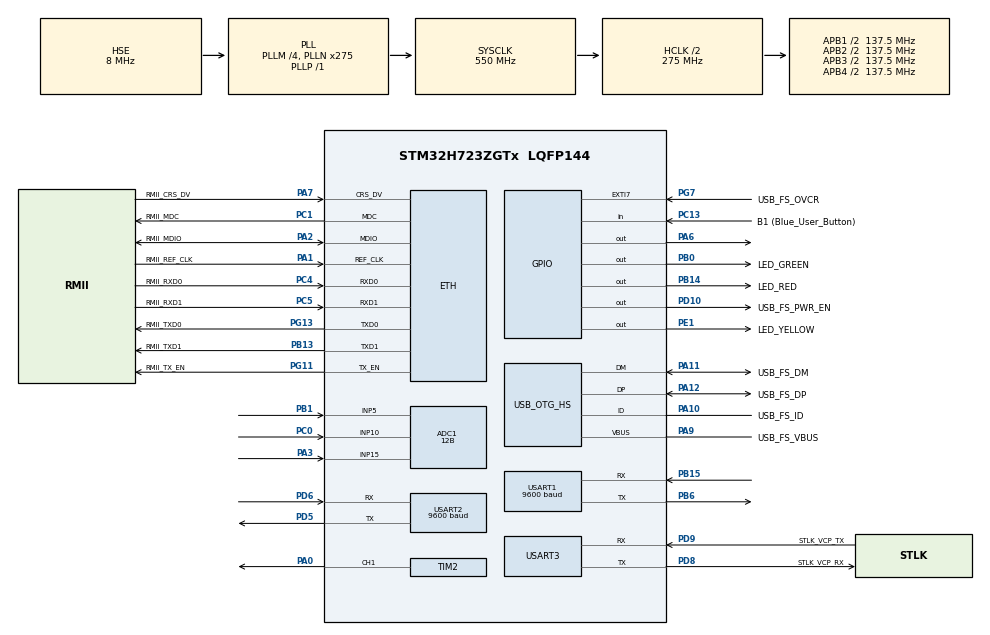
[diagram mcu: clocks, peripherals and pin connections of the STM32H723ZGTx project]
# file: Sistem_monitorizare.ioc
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ADC1.Channel-0\#ChannelRegularConversion=ADC_CHANNEL_10
ADC1.Channel-2\#ChannelRegularConversion=ADC_CHANNEL_15
ADC1.Channel-3\#ChannelRegularConversion=ADC_CHANNEL_5
ADC1.NbrOfConversion=3
ADC1.NbrOfConversionFlag=1
ADC1.OffsetNumber-0\#ChannelRegularConversion=ADC_OFFSET_NONE
ADC1.OffsetNumber-2\#ChannelRegularConversion=ADC_OFFSET_NONE
ADC1.OffsetNumber-3\#ChannelRegularConversion=ADC_OFFSET_NONE
ADC1.OffsetSignedSaturation-0\#ChannelRegularConversion=DISABLE
ADC1.OffsetSignedSaturation-2\#ChannelRegularConversion=DISABLE
ADC1.Rank-0\#ChannelRegularConversion=1
ADC1.Rank-2\#ChannelRegularConversion=2
ADC1.Rank-3\#ChannelRegularConversion=3
ADC1.Resolution=ADC_RESOLUTION_12B
ADC1.SamplingTime-0\#ChannelRegularConversion=ADC_SAMPLETIME_64CYCLES_5
ADC1.SamplingTime-2\#ChannelRegularConversion=ADC_SAMPLETIME_64CYCLES_5
ADC1.SamplingTime-3\#ChannelRegularConversion=ADC_SAMPLETIME_64CYCLES_5
ADC1.master=1
ETH.MediaInterface=HAL_ETH_RMII_MODE
FREERTOS.BinarySemaphores01=alertSemaphore,Static,alertSemaphoreControlBlock,Available
FREERTOS.INCLUDE_vTaskDelay=1
FREERTOS.Tasks01=defaultTask,24,128,StartDefaultTask,Default,NULL,Dynamic,NULL,NULL;SensorTask,40,512,mainTask,Default,NULL,Dynamic,NULL,NULL;CommTask,8,128,secondTask,Default,NULL,Dynamic,NULL,NULL
FREERTOS.Timers01=SensorTimer,Callback01,osTimerPeriodic,Default,NULL,Dynamic,NULL
FREERTOS.configUSE_NEWLIB_REENTRANT=1
LWIP.BSP.number=1
LWIP.CMSIS_VERSION-Enabled=1
LWIP.Version=v2.1.2_Cube
LWIP0.BSP.STBoard=false
LWIP0.BSP.api=BSP_COMPONENT_DRIVER
LWIP0.BSP.component=LAN8742
LWIP0.BSP.instance=LAN8742
LWIP0.BSP.name=Driver_PHY
LWIP0.BSP.semaphore=S_LAN8742
LWIP0.BSP.solution=LAN8742
Mcu.Family=STM32H7
Mcu.Name=STM32H723ZGTx
Mcu.Package=LQFP144
NVIC.PriorityGroup=NVIC_PRIORITYGROUP_4
NVIC.TIM6_DAC_IRQn=true\:15\:0\:false\:false\:true\:false\:false\:true\:true
NVIC.TimeBase=TIM6_DAC_IRQn
NVIC.TimeBaseIP=TIM6
PA0.Signal=S_TIM2_CH1_ETR
PA1.GPIO_Label=RMII_REF_CLK
PA1.Mode=RMII
PA1.Signal=ETH_REF_CLK
PA10.GPIO_Label=USB_FS_ID
PA10.Mode=OTG/Dual-Role-Device-FS
PA10.Signal=USB_OTG_HS_ID
PA11.GPIO_Label=USB_FS_DM
PA11.Mode=OTG/Dual-Role-Device-FS
PA11.Signal=USB_OTG_HS_DM
PA12.GPIO_Label=USB_FS_DP
PA12.Mode=OTG/Dual-Role-Device-FS
PA12.Signal=USB_OTG_HS_DP
PA13(JTMS/SWDIO).GPIO_Label=SWDIO
PA13(JTMS/SWDIO).Mode=Trace_Asynchronous_SW
PA13(JTMS/SWDIO).Signal=DEBUG_JTMS-SWDIO
PA14(JTCK/SWCLK).GPIO_Label=SWCLK
PA14(JTCK/SWCLK).Mode=Trace_Asynchronous_SW
PA14(JTCK/SWCLK).Signal=DEBUG_JTCK-SWCLK
PA2.GPIO_Label=RMII_MDIO
PA2.Mode=RMII
PA2.Signal=ETH_MDIO
PA3.Signal=ADCx_INP15
PA6.Signal=GPIO_Output
PA7.GPIO_Label=RMII_CRS_DV
PA7.Mode=RMII
PA7.Signal=ETH_CRS_DV
PA9.GPIO_Label=USB_FS_VBUS
PA9.Mode=Activate_VBUS_FS
PA9.Signal=USB_OTG_HS_VBUS
PB0.GPIO_Label=LED_GREEN
PB0.Signal=GPIO_Output
PB1.Signal=ADCx_INP5
PB13.GPIO_Label=RMII_TXD1
PB13.Mode=RMII
PB13.Signal=ETH_TXD1
PB14.GPIO_Label=LED_RED
PB14.Signal=GPIO_Output
PB15.Mode=Asynchronous
PB15.Signal=USART1_RX
PB3(JTDO/TRACESWO).GPIO_Label=SWO
PB3(JTDO/TRACESWO).Mode=Trace_Asynchronous_SW
PB3(JTDO/TRACESWO).Signal=DEBUG_JTDO-SWO
PB6.Mode=Asynchronous
PB6.Signal=USART1_TX
PC0.Signal=ADCx_INP10
PC1.GPIO_Label=RMII_MDC
PC1.Mode=RMII
PC1.Signal=ETH_MDC
PC13.GPIO_Label=B1 (Blue_User_Button)
PC13.Signal=GPIO_Input
PC14-OSC32_IN.Mode=LSE-External-Oscillator
PC14-OSC32_IN.Signal=RCC_OSC32_IN
PC15-OSC32_OUT.Mode=LSE-External-Oscillator
PC15-OSC32_OUT.Signal=RCC_OSC32_OUT
PC4.GPIO_Label=RMII_RXD0
PC4.Mode=RMII
PC4.Signal=ETH_RXD0
PC5.GPIO_Label=RMII_RXD1
PC5.Mode=RMII
PC5.Signal=ETH_RXD1
PD10.GPIO_Label=USB_FS_PWR_EN
PD10.Signal=GPIO_Output
PD5.Mode=Asynchronous
PD5.Signal=USART2_TX
PD6.GPIO_ModeDefaultPP=GPIO_MODE_AF_PP
PD6.GPIO_PuPd=GPIO_PULLUP
PD6.Mode=Asynchronous
PD6.Signal=USART2_RX
PD8.GPIO_Label=STLK_VCP_RX
PD8.Mode=Asynchronous
PD8.Signal=USART3_TX
PD9.GPIO_Label=STLK_VCP_TX
PD9.Mode=Asynchronous
PD9.Signal=USART3_RX
PE1.GPIO_Label=LED_YELLOW
PE1.Signal=GPIO_Output
PG11.GPIO_Label=RMII_TX_EN
PG11.Mode=RMII
PG11.Signal=ETH_TX_EN
PG13.GPIO_Label=RMII_TXD0
PG13.Mode=RMII
PG13.Signal=ETH_TXD0
PG7.GPIO_Label=USB_FS_OVCR
PG7.Signal=GPXTI7
PH0-OSC_IN.GPIO_Label=MCO
PH0-OSC_IN.Mode=HSE-External-Clock-Source
PH0-OSC_IN.Signal=RCC_OSC_IN
PH1-OSC_OUT.Signal=RCC_OSC_OUT
ProjectManager.HeapSize=0x200
ProjectManager.StackSize=0x400
ProjectManager.TargetToolchain=STM32CubeIDE
RCC.ADCFreq_Value=96000000
RCC.APB1Freq_Value=137500000
RCC.APB2Freq_Value=137500000
RCC.APB3Freq_Value=137500000
RCC.APB4Freq_Value=137500000
RCC.CortexFreq_Value=550000000
RCC.D1PPRE=RCC_APB3_DIV2
RCC.D2PPRE1=RCC_APB1_DIV2
RCC.D2PPRE2=RCC_APB2_DIV2
RCC.D3PPRE=RCC_APB4_DIV2
RCC.DIVM1=4
RCC.DIVM2=1
RCC.DIVN1=275
RCC.DIVN2=24
RCC.DIVP1=1
RCC.DIVQ1=4
RCC.FLatency-AdvancedSettings=FLASH_LATENCY_3
RCC.HCLKFreq_Value=275000000
RCC.HPRE=RCC_HCLK_DIV2
RCC.HSE_VALUE=8000000
RCC.LPUART1CLockSelection=RCC_LPUART1CLKSOURCE_HSI
RCC.PLL1_VCO_SEL-AdvancedSettings=RCC_PLL1VCOMEDIUM
RCC.PLL2_VCO_SEL-AdvancedSettings=RCC_PLL2VCOWIDE
RCC.PLLFRACN=0
RCC.PLLSourceVirtual=RCC_PLLSOURCE_HSE
RCC.SYSCLKFreq_VALUE=550000000
RCC.SYSCLKSource=RCC_SYSCLKSOURCE_PLLCLK
RCC.USBCLockSelection=RCC_USBCLKSOURCE_HSI48
RCC.USBFreq_Value=48000000
SH.ADCx_INP10.0=ADC1_INP10,IN10-Single-Ended
SH.ADCx_INP15.0=ADC1_INP15,IN15-Single-Ended
SH.ADCx_INP5.0=ADC1_INP5,IN5-Single-Ended
SH.S_TIM2_CH1_ETR.0=TIM2_CH1,PWM Generation1 CH1
TIM2.Channel-PWM\ Generation1\ CH1=TIM_CHANNEL_1
TIM2.Period=999
TIM2.Prescaler=839
TIM2.Pulse-PWM\ Generation1\ CH1=320
USART1.BaudRate=9600
USART1.VirtualMode-Asynchronous=VM_ASYNC
USART2.BaudRate=9600
USART2.VirtualMode-Asynchronous=VM_ASYNC
USART3.VirtualMode-Asynchronous=VM_ASYNC
VP_FREERTOS_VS_CMSIS_V2.Mode=CMSIS_V2
VP_LWIP_VS_Enabled.Mode=Enabled
VP_MEMORYMAP_VS_MEMORYMAP.Mode=CurAppReg
VP_SYS_VS_tim6.Mode=TIM6
board=NUCLEO-H723ZG

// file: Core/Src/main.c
/* USER CODE BEGIN Header */
/**
 ******************************************************************************
 * @file           : main.c
 * @brief          : Main program body
 ******************************************************************************
 * @attention
 *
 * Copyright (c) 2025 STMicroelectronics.
 * All rights reserved.
 *
 * This software is licensed under terms that can be found in the LICENSE file
 * in the root directory of this software component.
 * If no LICENSE file comes with this software, it is provided AS-IS.
 *
 ******************************************************************************
 */
/* USER CODE END Header */
#include "main.h"
#include "cmsis_os.h"
#include "lwip.h"

/* USER CODE BEGIN Includes */
#include <stdio.h>
#include "lwip/sockets.h"
#include <string.h>
#include "cod.h"
/* USER CODE END Includes */

typedef StaticSemaphore_t osStaticSemaphoreDef_t;

ADC_HandleTypeDef hadc1;

TIM_HandleTypeDef htim2;

UART_HandleTypeDef huart1;
UART_HandleTypeDef huart2;
UART_HandleTypeDef huart3;

/* Definitions for defaultTask */
osThreadId_t defaultTaskHandle;
const osThreadAttr_t defaultTask_attributes = {
  .name = "defaultTask",
  .stack_size = 128 * 4,
  .priority = (osPriority_t) osPriorityNormal,
};
/* Definitions for SensorTask */
osThreadId_t SensorTaskHandle;
const osThreadAttr_t SensorTask_attributes = {
  .name = "SensorTask",
  .stack_size = 512 * 4,
  .priority = (osPriority_t) osPriorityHigh,
};
/* Definitions for CommTask */
osThreadId_t CommTaskHandle;
const osThreadAttr_t CommTask_attributes = {
  .name = "CommTask",
  .stack_size = 128 * 4,
  .priority = (osPriority_t) osPriorityLow,
};
/* Definitions for SensorTimer */
osTimerId_t SensorTimerHandle;
const osTimerAttr_t SensorTimer_attributes = {
  .name = "SensorTimer"
};
/* Definitions for alertSemaphore */
osSemaphoreId_t alertSemaphoreHandle;
osStaticSemaphoreDef_t alertSemaphoreControlBlock;
const osSemaphoreAttr_t alertSemaphore_attributes = {
  .name = "alertSemaphore",
  .cb_mem = &alertSemaphoreControlBlock,
  .cb_size = sizeof(alertSemaphoreControlBlock),
};
/* USER CODE BEGIN PV */

// Define the semaphore handle
osSemaphoreId_t alertSemaphoreHandle;

/* USER CODE END PV */

void SystemClock_Config(void);
static void MX_GPIO_Init(void);
static void MX_USB_OTG_HS_USB_Init(void);
static void MX_ADC1_Init(void);
static void MX_TIM2_Init(void);
static void MX_USART2_UART_Init(void);
static void MX_USART1_UART_Init(void);
static void MX_USART3_UART_Init(void);
void StartDefaultTask(void *argument);
void mainTask(void *argument);
void secondTask(void *argument);
void Callback01(void *argument);

/* USER CODE BEGIN PFP */
// Declara funcția de citire a temperaturii

/* USER CODE END PFP */

/* USER CODE BEGIN 0 */
// Redirecționare printf -> UART3

int _write(int file, char *ptr, int len)
{
	HAL_UART_Transmit(&huart3, (uint8_t*)ptr, len, HAL_MAX_DELAY);
	return len;
}

void InitCycleCounter(void) {
    CoreDebug->DEMCR |= CoreDebug_DEMCR_TRCENA_Msk; // Activează accesul la DWT
    DWT->CYCCNT = 0;                                // Resetează contorul
    DWT->CTRL |= DWT_CTRL_CYCCNTENA_Msk;            // Activează contorul de cicluri
}

/* USER CODE END 0 */

int main(void)
{

  /* MCU Configuration--------------------------------------------------------*/

  /* Reset of all peripherals, Initializes the Flash interface and the Systick. */
  HAL_Init();

  /* USER CODE BEGIN Init */
  InitCycleCounter();
  /* USER CODE END Init */

  /* Configure the system clock */
  SystemClock_Config();

  /* Initialize all configured peripherals */
  MX_GPIO_Init();
  MX_USB_OTG_HS_USB_Init();
  MX_ADC1_Init();
  MX_TIM2_Init();
  MX_USART2_UART_Init();
  MX_USART1_UART_Init();
  MX_USART3_UART_Init();
  /* USER CODE BEGIN 2 */

	printf("Sistem pornit. Începe monitorizarea..\r\n");
	HAL_TIM_PWM_Start(&htim2, TIM_CHANNEL_1);
  /* USER CODE END 2 */

  /* Init scheduler */
  osKernelInitialize();

  /* Create the semaphores(s) */
  /* creation of alertSemaphore */
  alertSemaphoreHandle = osSemaphoreNew(1, 1, &alertSemaphore_attributes);

  /* Create the timer(s) */
  /* creation of SensorTimer */
  SensorTimerHandle = osTimerNew(Callback01, osTimerPeriodic, NULL, &SensorTimer_attributes);

  /* Create the thread(s) */
  /* creation of defaultTask */
  defaultTaskHandle = osThreadNew(StartDefaultTask, NULL, &defaultTask_attributes);

  /* creation of SensorTask */
  SensorTaskHandle = osThreadNew(mainTask, NULL, &SensorTask_attributes);

  /* creation of CommTask */
  CommTaskHandle = osThreadNew(secondTask, NULL, &CommTask_attributes);

  /* USER CODE BEGIN RTOS_THREADS */
	/* add threads, ... */
	alertSemaphoreHandle = osSemaphoreNew(1, 0, NULL);  // Binary semaphore
	    if (alertSemaphoreHandle == NULL) {
	        printf("Error: Semaphore initialization failed!\r\n");
	        while (1);  // Halt the program if semaphore initialization fails
	    }
  /* USER CODE END RTOS_THREADS */

  /* Start scheduler */
  osKernelStart();

  /* We should never get here as control is now taken by the scheduler */

  /* Infinite loop */
	while (1)
	{

	}
}

void SystemClock_Config(void)
{
  RCC_OscInitTypeDef RCC_OscInitStruct = {0};
  RCC_ClkInitTypeDef RCC_ClkInitStruct = {0};

  /** Supply configuration update enable
  */
  HAL_PWREx_ConfigSupply(PWR_LDO_SUPPLY);

  /** Configure the main internal regulator output voltage
  */
  __HAL_PWR_VOLTAGESCALING_CONFIG(PWR_REGULATOR_VOLTAGE_SCALE0);

  while(!__HAL_PWR_GET_FLAG(PWR_FLAG_VOSRDY)) {}

  /** Initializes the RCC Oscillators according to the specified parameters
  * in the RCC_OscInitTypeDef structure.
  */
  RCC_OscInitStruct.OscillatorType = RCC_OSCILLATORTYPE_HSI48|RCC_OSCILLATORTYPE_HSE;
  RCC_OscInitStruct.HSEState = RCC_HSE_BYPASS;
  RCC_OscInitStruct.HSI48State = RCC_HSI48_ON;
  RCC_OscInitStruct.PLL.PLLState = RCC_PLL_ON;
  RCC_OscInitStruct.PLL.PLLSource = RCC_PLLSOURCE_HSE;
  RCC_OscInitStruct.PLL.PLLM = 4;
  RCC_OscInitStruct.PLL.PLLN = 275;
  RCC_OscInitStruct.PLL.PLLP = 1;
  RCC_OscInitStruct.PLL.PLLQ = 4;
  RCC_OscInitStruct.PLL.PLLR = 2;
  RCC_OscInitStruct.PLL.PLLRGE = RCC_PLL1VCIRANGE_1;
  RCC_OscInitStruct.PLL.PLLVCOSEL = RCC_PLL1VCOWIDE;
  RCC_OscInitStruct.PLL.PLLFRACN = 0;
  if (HAL_RCC_OscConfig(&RCC_OscInitStruct) != HAL_OK)
  {
    Error_Handler();
  }

  /** Initializes the CPU, AHB and APB buses clocks
  */
  RCC_ClkInitStruct.ClockType = RCC_CLOCKTYPE_HCLK|RCC_CLOCKTYPE_SYSCLK
                              |RCC_CLOCKTYPE_PCLK1|RCC_CLOCKTYPE_PCLK2
                              |RCC_CLOCKTYPE_D3PCLK1|RCC_CLOCKTYPE_D1PCLK1;
  RCC_ClkInitStruct.SYSCLKSource = RCC_SYSCLKSOURCE_PLLCLK;
  RCC_ClkInitStruct.SYSCLKDivider = RCC_SYSCLK_DIV1;
  RCC_ClkInitStruct.AHBCLKDivider = RCC_HCLK_DIV2;
  RCC_ClkInitStruct.APB3CLKDivider = RCC_APB3_DIV2;
  RCC_ClkInitStruct.APB1CLKDivider = RCC_APB1_DIV2;
  RCC_ClkInitStruct.APB2CLKDivider = RCC_APB2_DIV2;
  RCC_ClkInitStruct.APB4CLKDivider = RCC_APB4_DIV2;

  if (HAL_RCC_ClockConfig(&RCC_ClkInitStruct, FLASH_LATENCY_3) != HAL_OK)
  {
    Error_Handler();
  }
}

static void MX_ADC1_Init(void)
{

  ADC_MultiModeTypeDef multimode = {0};
  ADC_ChannelConfTypeDef sConfig = {0};

  /** Common config
  */
  hadc1.Instance = ADC1;
  hadc1.Init.ClockPrescaler = ADC_CLOCK_ASYNC_DIV1;
  hadc1.Init.Resolution = ADC_RESOLUTION_12B;
  hadc1.Init.ScanConvMode = ADC_SCAN_ENABLE;
  hadc1.Init.EOCSelection = ADC_EOC_SINGLE_CONV;
  hadc1.Init.LowPowerAutoWait = DISABLE;
  hadc1.Init.ContinuousConvMode = DISABLE;
  hadc1.Init.NbrOfConversion = 3;
  hadc1.Init.DiscontinuousConvMode = DISABLE;
  hadc1.Init.ExternalTrigConv = ADC_SOFTWARE_START;
  hadc1.Init.ExternalTrigConvEdge = ADC_EXTERNALTRIGCONVEDGE_NONE;
  hadc1.Init.ConversionDataManagement = ADC_CONVERSIONDATA_DR;
  hadc1.Init.Overrun = ADC_OVR_DATA_PRESERVED;
  hadc1.Init.LeftBitShift = ADC_LEFTBITSHIFT_NONE;
  hadc1.Init.OversamplingMode = DISABLE;
  hadc1.Init.Oversampling.Ratio = 1;
  if (HAL_ADC_Init(&hadc1) != HAL_OK)
  {
    Error_Handler();
  }

  /** Configure the ADC multi-mode
  */
  multimode.Mode = ADC_MODE_INDEPENDENT;
  if (HAL_ADCEx_MultiModeConfigChannel(&hadc1, &multimode) != HAL_OK)
  {
    Error_Handler();
  }

  /** Configure Regular Channel
  */
  sConfig.Channel = ADC_CHANNEL_10;
  sConfig.Rank = ADC_REGULAR_RANK_1;
  sConfig.SamplingTime = ADC_SAMPLETIME_64CYCLES_5;
  sConfig.SingleDiff = ADC_SINGLE_ENDED;
  sConfig.OffsetNumber = ADC_OFFSET_NONE;
  sConfig.Offset = 0;
  sConfig.OffsetSignedSaturation = DISABLE;
  if (HAL_ADC_ConfigChannel(&hadc1, &sConfig) != HAL_OK)
  {
    Error_Handler();
  }

  /** Configure Regular Channel
  */
  sConfig.Channel = ADC_CHANNEL_15;
  sConfig.Rank = ADC_REGULAR_RANK_2;
  if (HAL_ADC_ConfigChannel(&hadc1, &sConfig) != HAL_OK)
  {
    Error_Handler();
  }

  /** Configure Regular Channel
  */
  sConfig.Channel = ADC_CHANNEL_5;
  sConfig.Rank = ADC_REGULAR_RANK_3;
  if (HAL_ADC_ConfigChannel(&hadc1, &sConfig) != HAL_OK)
  {
    Error_Handler();
  }

}

static void MX_TIM2_Init(void)
{

  TIM_MasterConfigTypeDef sMasterConfig = {0};
  TIM_OC_InitTypeDef sConfigOC = {0};

  htim2.Instance = TIM2;
  htim2.Init.Prescaler = 839;
  htim2.Init.CounterMode = TIM_COUNTERMODE_UP;
  htim2.Init.Period = 999;
  htim2.Init.ClockDivision = TIM_CLOCKDIVISION_DIV1;
  htim2.Init.AutoReloadPreload = TIM_AUTORELOAD_PRELOAD_DISABLE;
  if (HAL_TIM_PWM_Init(&htim2) != HAL_OK)
  {
    Error_Handler();
  }
  sMasterConfig.MasterOutputTrigger = TIM_TRGO_RESET;
  sMasterConfig.MasterSlaveMode = TIM_MASTERSLAVEMODE_DISABLE;
  if (HAL_TIMEx_MasterConfigSynchronization(&htim2, &sMasterConfig) != HAL_OK)
  {
    Error_Handler();
  }
  sConfigOC.OCMode = TIM_OCMODE_PWM1;
  sConfigOC.Pulse = 320;
  sConfigOC.OCPolarity = TIM_OCPOLARITY_HIGH;
  sConfigOC.OCFastMode = TIM_OCFAST_DISABLE;
  if (HAL_TIM_PWM_ConfigChannel(&htim2, &sConfigOC, TIM_CHANNEL_1) != HAL_OK)
  {
    Error_Handler();
  }
  HAL_TIM_MspPostInit(&htim2);

}

static void MX_USART1_UART_Init(void)
{

  huart1.Instance = USART1;
  huart1.Init.BaudRate = 9600;
  huart1.Init.WordLength = UART_WORDLENGTH_8B;
  huart1.Init.StopBits = UART_STOPBITS_1;
  huart1.Init.Parity = UART_PARITY_NONE;
  huart1.Init.Mode = UART_MODE_TX_RX;
  huart1.Init.HwFlowCtl = UART_HWCONTROL_NONE;
  huart1.Init.OverSampling = UART_OVERSAMPLING_16;
  huart1.Init.OneBitSampling = UART_ONE_BIT_SAMPLE_DISABLE;
  huart1.Init.ClockPrescaler = UART_PRESCALER_DIV1;
  huart1.AdvancedInit.AdvFeatureInit = UART_ADVFEATURE_NO_INIT;
  if (HAL_UART_Init(&huart1) != HAL_OK)
  {
    Error_Handler();
  }
  if (HAL_UARTEx_SetTxFifoThreshold(&huart1, UART_TXFIFO_THRESHOLD_1_8) != HAL_OK)
  {
    Error_Handler();
  }
  if (HAL_UARTEx_SetRxFifoThreshold(&huart1, UART_RXFIFO_THRESHOLD_1_8) != HAL_OK)
  {
    Error_Handler();
  }
  if (HAL_UARTEx_DisableFifoMode(&huart1) != HAL_OK)
  {
    Error_Handler();
  }

}

static void MX_USART2_UART_Init(void)
{

  huart2.Instance = USART2;
  huart2.Init.BaudRate = 9600;
  huart2.Init.WordLength = UART_WORDLENGTH_8B;
  huart2.Init.StopBits = UART_STOPBITS_1;
  huart2.Init.Parity = UART_PARITY_NONE;
  huart2.Init.Mode = UART_MODE_TX_RX;
  huart2.Init.HwFlowCtl = UART_HWCONTROL_NONE;
  huart2.Init.OverSampling = UART_OVERSAMPLING_16;
  huart2.Init.OneBitSampling = UART_ONE_BIT_SAMPLE_DISABLE;
  huart2.Init.ClockPrescaler = UART_PRESCALER_DIV1;
  huart2.AdvancedInit.AdvFeatureInit = UART_ADVFEATURE_NO_INIT;
  if (HAL_UART_Init(&huart2) != HAL_OK)
  {
    Error_Handler();
  }
  if (HAL_UARTEx_SetTxFifoThreshold(&huart2, UART_TXFIFO_THRESHOLD_1_8) != HAL_OK)
  {
    Error_Handler();
  }
  if (HAL_UARTEx_SetRxFifoThreshold(&huart2, UART_RXFIFO_THRESHOLD_1_8) != HAL_OK)
  {
    Error_Handler();
  }
  if (HAL_UARTEx_DisableFifoMode(&huart2) != HAL_OK)
  {
    Error_Handler();
  }

}

static void MX_USART3_UART_Init(void)
{

  huart3.Instance = USART3;
  huart3.Init.BaudRate = 115200;
  huart3.Init.WordLength = UART_WORDLENGTH_8B;
  huart3.Init.StopBits = UART_STOPBITS_1;
  huart3.Init.Parity = UART_PARITY_NONE;
  huart3.Init.Mode = UART_MODE_TX_RX;
  huart3.Init.HwFlowCtl = UART_HWCONTROL_NONE;
  huart3.Init.OverSampling = UART_OVERSAMPLING_16;
  huart3.Init.OneBitSampling = UART_ONE_BIT_SAMPLE_DISABLE;
  huart3.Init.ClockPrescaler = UART_PRESCALER_DIV1;
  huart3.AdvancedInit.AdvFeatureInit = UART_ADVFEATURE_NO_INIT;
  if (HAL_UART_Init(&huart3) != HAL_OK)
  {
    Error_Handler();
  }
  if (HAL_UARTEx_SetTxFifoThreshold(&huart3, UART_TXFIFO_THRESHOLD_1_8) != HAL_OK)
  {
    Error_Handler();
  }
  if (HAL_UARTEx_SetRxFifoThreshold(&huart3, UART_RXFIFO_THRESHOLD_1_8) != HAL_OK)
  {
    Error_Handler();
  }
  if (HAL_UARTEx_DisableFifoMode(&huart3) != HAL_OK)
  {
    Error_Handler();
  }

}

static void MX_USB_OTG_HS_USB_Init(void)
{

}

static void MX_GPIO_Init(void)
{
  GPIO_InitTypeDef GPIO_InitStruct = {0};

  /* GPIO Ports Clock Enable */
  __HAL_RCC_GPIOC_CLK_ENABLE();
  __HAL_RCC_GPIOH_CLK_ENABLE();
  __HAL_RCC_GPIOA_CLK_ENABLE();
  __HAL_RCC_GPIOB_CLK_ENABLE();
  __HAL_RCC_GPIOD_CLK_ENABLE();
  __HAL_RCC_GPIOG_CLK_ENABLE();
  __HAL_RCC_GPIOE_CLK_ENABLE();

  /*Configure GPIO pin Output Level */
  HAL_GPIO_WritePin(GPIOA, GPIO_PIN_6, GPIO_PIN_RESET);

  /*Configure GPIO pin Output Level */
  HAL_GPIO_WritePin(GPIOB, LED_GREEN_Pin|LED_RED_Pin, GPIO_PIN_RESET);

  /*Configure GPIO pin Output Level */
  HAL_GPIO_WritePin(USB_FS_PWR_EN_GPIO_Port, USB_FS_PWR_EN_Pin, GPIO_PIN_RESET);

  /*Configure GPIO pin Output Level */
  HAL_GPIO_WritePin(LED_YELLOW_GPIO_Port, LED_YELLOW_Pin, GPIO_PIN_RESET);

  /*Configure GPIO pin : B1_Pin */
  GPIO_InitStruct.Pin = B1_Pin;
  GPIO_InitStruct.Mode = GPIO_MODE_INPUT;
  GPIO_InitStruct.Pull = GPIO_NOPULL;
  HAL_GPIO_Init(B1_GPIO_Port, &GPIO_InitStruct);

  /*Configure GPIO pin : PA6 */
  GPIO_InitStruct.Pin = GPIO_PIN_6;
  GPIO_InitStruct.Mode = GPIO_MODE_OUTPUT_PP;
  GPIO_InitStruct.Pull = GPIO_NOPULL;
  GPIO_InitStruct.Speed = GPIO_SPEED_FREQ_LOW;
  HAL_GPIO_Init(GPIOA, &GPIO_InitStruct);

  /*Configure GPIO pins : LED_GREEN_Pin LED_RED_Pin */
  GPIO_InitStruct.Pin = LED_GREEN_Pin|LED_RED_Pin;
  GPIO_InitStruct.Mode = GPIO_MODE_OUTPUT_PP;
  GPIO_InitStruct.Pull = GPIO_NOPULL;
  GPIO_InitStruct.Speed = GPIO_SPEED_FREQ_LOW;
  HAL_GPIO_Init(GPIOB, &GPIO_InitStruct);

  /*Configure GPIO pin : USB_FS_PWR_EN_Pin */
  GPIO_InitStruct.Pin = USB_FS_PWR_EN_Pin;
  GPIO_InitStruct.Mode = GPIO_MODE_OUTPUT_PP;
  GPIO_InitStruct.Pull = GPIO_NOPULL;
  GPIO_InitStruct.Speed = GPIO_SPEED_FREQ_LOW;
  HAL_GPIO_Init(USB_FS_PWR_EN_GPIO_Port, &GPIO_InitStruct);

  /*Configure GPIO pin : USB_FS_OVCR_Pin */
  GPIO_InitStruct.Pin = USB_FS_OVCR_Pin;
  GPIO_InitStruct.Mode = GPIO_MODE_IT_RISING;
  GPIO_InitStruct.Pull = GPIO_NOPULL;
  HAL_GPIO_Init(USB_FS_OVCR_GPIO_Port, &GPIO_InitStruct);

  /*Configure GPIO pin : USB_FS_VBUS_Pin */
  GPIO_InitStruct.Pin = USB_FS_VBUS_Pin;
  GPIO_InitStruct.Mode = GPIO_MODE_INPUT;
  GPIO_InitStruct.Pull = GPIO_NOPULL;
  HAL_GPIO_Init(USB_FS_VBUS_GPIO_Port, &GPIO_InitStruct);

  /*Configure GPIO pin : USB_FS_ID_Pin */
  GPIO_InitStruct.Pin = USB_FS_ID_Pin;
  GPIO_InitStruct.Mode = GPIO_MODE_AF_PP;
  GPIO_InitStruct.Pull = GPIO_NOPULL;
  GPIO_InitStruct.Speed = GPIO_SPEED_FREQ_LOW;
  GPIO_InitStruct.Alternate = GPIO_AF10_OTG1_HS;
  HAL_GPIO_Init(USB_FS_ID_GPIO_Port, &GPIO_InitStruct);

  /*Configure GPIO pin : LED_YELLOW_Pin */
  GPIO_InitStruct.Pin = LED_YELLOW_Pin;
  GPIO_InitStruct.Mode = GPIO_MODE_OUTPUT_PP;
  GPIO_InitStruct.Pull = GPIO_NOPULL;
  GPIO_InitStruct.Speed = GPIO_SPEED_FREQ_LOW;
  HAL_GPIO_Init(LED_YELLOW_GPIO_Port, &GPIO_InitStruct);

}

void StartDefaultTask(void *argument)
{
  /* init code for LWIP */
  MX_LWIP_Init();
	for(;;)
	{
		osDelay(1);
	}
}

/* Callback01 function */
void Callback01(void *argument)
{
}

void HAL_TIM_PeriodElapsedCallback(TIM_HandleTypeDef *htim)
{
  /* USER CODE BEGIN Callback 0 */
	void HAL_UART_TxCpltCallback(UART_HandleTypeDef *huart) {
	    if (huart->Instance == USART3) {
	        printf("Bluetooth transmission complete.\r\n");
	    }
	}

  /* USER CODE END Callback 0 */
  if (htim->Instance == TIM6) {
    HAL_IncTick();
  }
}

void Error_Handler(void)
{
	__disable_irq();
	while (1)
	{
	}
}
